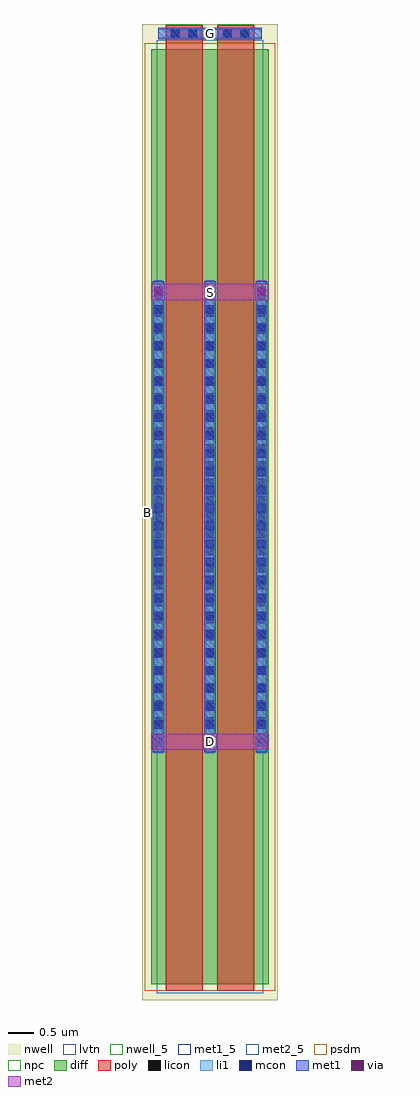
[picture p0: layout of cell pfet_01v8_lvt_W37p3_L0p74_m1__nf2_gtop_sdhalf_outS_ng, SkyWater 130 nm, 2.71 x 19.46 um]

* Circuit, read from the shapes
.subckt pfet_01v8_lvt_W37p3_L0p74_m1__nf2_gtop_sdhalf_outS_ng B D G S
XM1 D G S B sky130_fd_pr__pfet_01v8_lvt w=18.65 l=0.74 m=2
.ends

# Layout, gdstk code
import gdstk
lib = gdstk.Library(unit=1e-6, precision=1e-09)
def R(c, l, rs):  # rectangles x0, y0, x1, y1
    for r in rs: c.add(gdstk.rectangle(r[:2], r[2:], *l))
def A(c, l, x, y, w, h, nx, ny, dx, dy):  # array of equal rectangles
    R(c, l, [(x+i*dx, y+j*dy, x+i*dx+w, y+j*dy+h) for i in range(nx) for j in range(ny)])
nwell_5 = (64, 5)
nwell = (64, 20)
diff = (65, 20)
poly = (66, 20)
licon = (66, 44)
li1 = (67, 20)
mcon = (67, 44)
met1_5 = (68, 5)
met1 = (68, 20)
via = (68, 44)
met2_5 = (69, 5)
met2 = (69, 20)
psdm = (94, 20)
npc = (95, 20)
lvtn = (125, 44)

sky130_fd_pr__pfet_01v8_ = lib.new_cell('sky130_fd_pr__pfet_01v8_lvt_G3YYXV')
R(sky130_fd_pr__pfet_01v8_, nwell, [(-1.355,-9.815,1.355,9.645)])
R(sky130_fd_pr__pfet_01v8_, diff, [(-1.175,-9.505,1.175,9.145)])
R(sky130_fd_pr__pfet_01v8_, poly, [(-0.885,-9.635,-0.145,9.63), (0.145,-9.635,0.885,9.63)])
A(sky130_fd_pr__pfet_01v8_, licon, -1.115, -4.685, 0.17, 0.17, 3, 27, 1.03, 0.34)
R(sky130_fd_pr__pfet_01v8_, licon, [(-0.77,9.38,-0.6,9.55), (-0.43,9.38,-0.26,9.55), (0.26,9.38,0.43,9.55), (0.6,9.38,0.77,9.55)])
A(sky130_fd_pr__pfet_01v8_, li1, -1.115, -4.895, 0.17, 9.43, 3, 1, 1.03, 0)
R(sky130_fd_pr__pfet_01v8_, li1, [(-1.03,9.38,1.03,9.55)])
A(sky130_fd_pr__pfet_01v8_, mcon, -1.115, -4.765, 0.17, 0.17, 3, 26, 1.03, 0.36)
R(sky130_fd_pr__pfet_01v8_, mcon, [(-0.78,9.38,-0.61,9.55), (-0.42,9.38,-0.25,9.55), (0.25,9.38,0.42,9.55), (0.61,9.38,0.78,9.55)])
A(sky130_fd_pr__pfet_01v8_, met1, -1.145, -4.875, 0.23, 9.39, 3, 1, 1.03, 0)
R(sky130_fd_pr__pfet_01v8_, met1, [(-0.865,9.35,-0.165,9.38), (0.165,9.35,0.865,9.38), (-1.03,9.38,1.03,9.55), (-0.865,9.55,-0.165,9.58), (0.165,9.55,0.865,9.58)])
R(sky130_fd_pr__pfet_01v8_, psdm, [(-1.3,-9.63,1.3,9.27)])
R(sky130_fd_pr__pfet_01v8_, npc, [(-0.87,9.28,-0.16,9.65), (0.16,9.28,0.87,9.65)])
R(sky130_fd_pr__pfet_01v8_, lvtn, [(-1.065,-9.685,1.065,9.325)])
sky130_fd_pr__pfet_01v8_.add(gdstk.Label('D0', (-1.03,-0.18), layer=67, texttype=5))
sky130_fd_pr__pfet_01v8_.add(gdstk.Label('G', (0.515,9.465), layer=67, texttype=5))
sky130_fd_pr__pfet_01v8_.add(gdstk.Label('G', (-0.515,9.465), layer=67, texttype=5))
sky130_fd_pr__pfet_01v8_.add(gdstk.Label('S1', (0,-0.18), layer=67, texttype=5))

pfet_01v8_lvt_w37p3_l0p7 = lib.new_cell('pfet_01v8_lvt_W37p3_L0p74_m1__nf2_gtop_sdhalf_outS_ng')
R(pfet_01v8_lvt_w37p3_l0p7, nwell_5, [(0.05,9.68,0.15,9.78)])
R(pfet_01v8_lvt_w37p3_l0p7, nwell, [(0.05,9.68,0.15,9.78)])
R(pfet_01v8_lvt_w37p3_l0p7, met1_5, [(0.325,19.165,2.385,19.395)])
R(pfet_01v8_lvt_w37p3_l0p7, met1, [(1.225,4.99,1.485,5.31), (0.195,13.96,0.455,14.28), (2.255,13.96,2.515,14.28), (0.325,19.165,2.385,19.395)])
R(pfet_01v8_lvt_w37p3_l0p7, via, [(1.28,5.075,1.43,5.225), (0.25,14.045,0.4,14.195), (2.31,14.045,2.46,14.195)])
R(pfet_01v8_lvt_w37p3_l0p7, met2_5, [(0.19,4.99,2.52,5.31), (0.19,13.96,2.52,14.28)])
R(pfet_01v8_lvt_w37p3_l0p7, met2, [(0.19,4.99,2.52,5.31), (0.19,13.96,2.52,14.28)])
pfet_01v8_lvt_w37p3_l0p7.add(gdstk.Reference(sky130_fd_pr__pfet_01v8_, (1.355,9.815)))
pfet_01v8_lvt_w37p3_l0p7.add(gdstk.Label('S', (1.355,14.12), layer=69, texttype=5))
pfet_01v8_lvt_w37p3_l0p7.add(gdstk.Label('D', (1.355,5.15), layer=69, texttype=5))
pfet_01v8_lvt_w37p3_l0p7.add(gdstk.Label('G', (1.355,19.28), layer=68, texttype=5))
pfet_01v8_lvt_w37p3_l0p7.add(gdstk.Label('B', (0.1,9.73), layer=64, texttype=5))

lib.write_gds('pfet_01v8_lvt_W37p3_L0p74_m1__nf2_gtop_sdhalf_outS_ng.gds')
